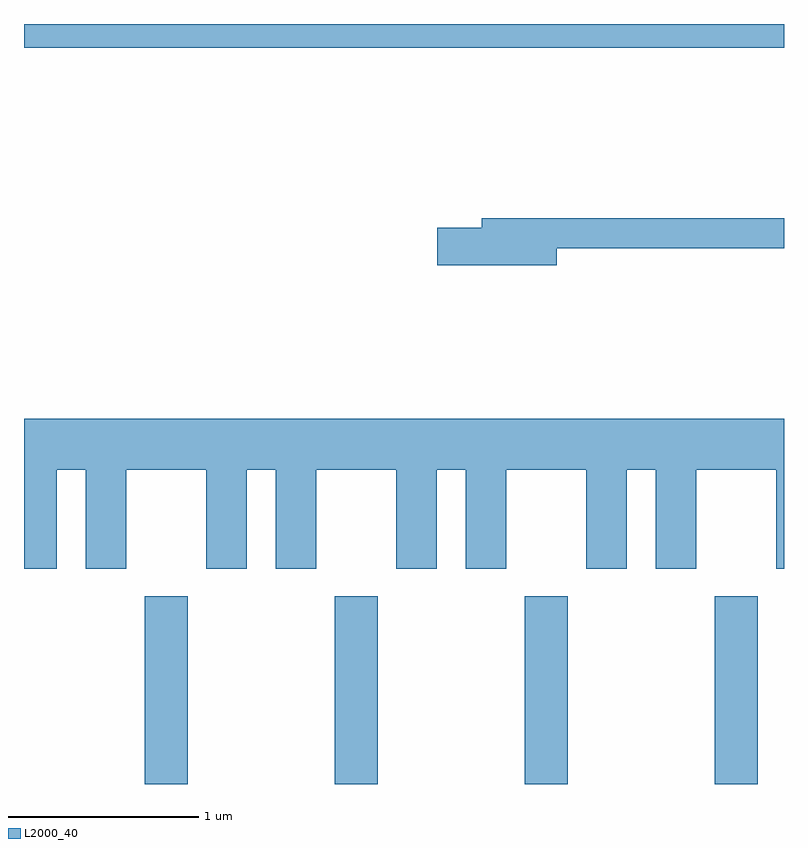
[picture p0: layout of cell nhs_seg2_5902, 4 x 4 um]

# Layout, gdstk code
import gdstk
lib = gdstk.Library(unit=1e-6, precision=1e-09)
def R(c, l, rs):  # rectangles x0, y0, x1, y1
    for r in rs: c.add(gdstk.rectangle(r[:2], r[2:], *l))
def A(c, l, x, y, w, h, nx, ny, dx, dy):  # array of equal rectangles
    R(c, l, [(x+i*dx, y+j*dy, x+i*dx+w, y+j*dy+h) for i in range(nx) for j in range(ny)])
def P(c, l, *ps):  # polygons
    for p in ps: c.add(gdstk.Polygon(p, *l))
L2000_40 = (2000, 40)

nhs_seg2_5902 = lib.new_cell('nhs_seg2_5902')
A(nhs_seg2_5902, L2000_40, 360.246, 1017.802, 0.228, 0.987, 4, 1, 1, 0)
R(nhs_seg2_5902, L2000_40, [(359.611,1021.676,363.611,1021.802)])
P(nhs_seg2_5902, L2000_40, [(362.414,1020.621),(363.611,1020.621),(363.611,1020.779),(362.021,1020.779),(362.021,1020.729),(361.786,1020.729),(361.786,1020.531),(362.414,1020.531)],
  [(359.784,1019.456),(359.936,1019.456),(359.936,1018.936),(360.149,1018.936),(360.149,1019.456),(360.571,1019.456),(360.571,1018.936),(360.784,1018.936),(360.784,1019.456),(360.936,1019.456),(360.936,1018.936),(361.149,1018.936),(361.149,1019.456),(361.571,1019.456),(361.571,1018.936),(361.784,1018.936),(361.784,1019.456),(361.936,1019.456),(361.936,1018.936),(362.149,1018.936),(362.149,1019.456),(362.571,1019.456),(362.571,1018.936),(362.784,1018.936),(362.784,1019.456),(362.936,1019.456),(362.936,1018.936),(363.149,1018.936),(363.149,1019.456),(363.571,1019.456),(363.571,1018.936),(363.611,1018.936),(363.611,1019.724),(359.611,1019.724),(359.611,1018.936),(359.784,1018.936)])

lib.write_gds('nhs_seg2_5902.gds')
